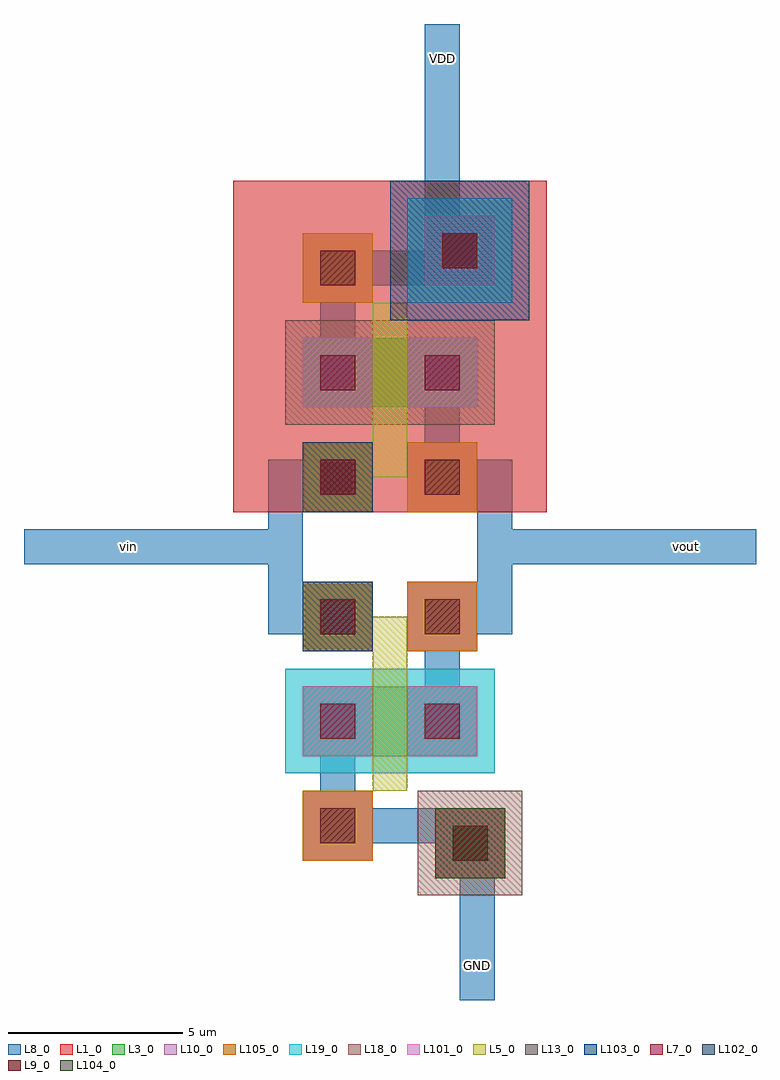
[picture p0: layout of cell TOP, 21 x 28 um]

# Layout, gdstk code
import gdstk
lib = gdstk.Library(unit=1e-6, precision=1e-07)
def R(c, l, rs):  # rectangles x0, y0, x1, y1
    for r in rs: c.add(gdstk.rectangle(r[:2], r[2:], *l))
def P(c, l, *ps):  # polygons
    for p in ps: c.add(gdstk.Polygon(p, *l))
L1_0 = (1, 0)
L3_0 = (3, 0)
L5_0 = (5, 0)
L7_0 = (7, 0)
L8_0 = (8, 0)
L9_0 = (9, 0)
L10_0 = (10, 0)
L13_0 = (13, 0)
L18_0 = (18, 0)
L19_0 = (19, 0)
L101_0 = (101, 0)
L102_0 = (102, 0)
L103_0 = (103, 0)
L104_0 = (104, 0)
L105_0 = (105, 0)

dcont = lib.new_cell('dcont')
R(dcont, L3_0, [(-1,-1,1,1)])
R(dcont, L7_0, [(-0.5,-0.5,0.5,0.5)])
R(dcont, L8_0, [(-1,-1,1,1)])
R(dcont, L13_0, [(-0.5,-0.5,0.5,0.5)])
R(dcont, L101_0, [(-1,-1,1,1)])

pcont = lib.new_cell('pcont')
R(pcont, L5_0, [(-1,-1,1,1)])
R(pcont, L7_0, [(-0.5,-0.5,0.5,0.5)])
R(pcont, L8_0, [(-1,-1,1,1)])
R(pcont, L13_0, [(-0.5,-0.5,0.5,0.5)])
R(pcont, L102_0, [(-1,-1,1,1)])

via = lib.new_cell('Via')
R(via, L8_0, [(-1,-1,1,1)])
R(via, L9_0, [(-0.5,-0.5,0.5,0.5)])
R(via, L10_0, [(-1,-1,1,1)])
R(via, L13_0, [(-0.5,-0.5,0.5,0.5)])
R(via, L105_0, [(-1,-1,1,1)])

dcont1 = lib.new_cell('dcont1')
R(dcont1, L3_0, [(-1,-1,1,1)])
R(dcont1, L7_0, [(-0.5,-0.5,0.5,0.5)])
R(dcont1, L8_0, [(-1,-1,1,1)])
R(dcont1, L13_0, [(-0.5,-0.5,0.5,0.5)])
R(dcont1, L101_0, [(-1,-1,1,1)])

psubcont = lib.new_cell('psubcont')
R(psubcont, L18_0, [(-1.5,-1.5,1.5,1.5)])
R(psubcont, L104_0, [(-1,-1,1,1)])
psubcont.add(gdstk.Reference(dcont1, (0,0)))

nch = lib.new_cell('Nch')
R(nch, L3_0, [(0,3,5,5)])
R(nch, L19_0, [(-0.5,2.5,5.5,5.5)])
nch.add(gdstk.FlexPath([(2.5,3),(2.5,5)], 1, ends=(1, 1), simple_path=True, layer=5, datatype=0))  # L5_0
nch.add(gdstk.FlexPath([(1,6.5),(2.5,6.5),(2.5,6)], 1, ends="flush", simple_path=True, layer=5, datatype=0))  # L5_0
nch.add(gdstk.FlexPath([(1,3),(1,5)], 2, ends="flush", simple_path=True, layer=8, datatype=0))  # L8_0
nch.add(gdstk.FlexPath([(4,3),(4,5)], 2, ends="flush", simple_path=True, layer=8, datatype=0))  # L8_0
nch.add(gdstk.FlexPath([(1,1),(1,4)], 1, ends="flush", simple_path=True, layer=8, datatype=0))  # L8_0
nch.add(gdstk.FlexPath([(4,4),(4,7)], 1, ends="flush", simple_path=True, layer=8, datatype=0))  # L8_0
nch.add(gdstk.Reference(dcont, (1,4)))
nch.add(gdstk.Reference(dcont, (4,4)))
nch.add(gdstk.Reference(pcont, (1,7)))
nch.add(gdstk.Reference(via, (1,7)))
nch.add(gdstk.Reference(via, (1,1)))
nch.add(gdstk.Reference(via, (4,7)))
nch.add(gdstk.Reference(psubcont, (4.8,0.5)))
nch.add(gdstk.Reference(via, (4.8,0.5)))

nsubcont = lib.new_cell('nsubcont')
R(nsubcont, L1_0, [(-2,-2,2,2)])
R(nsubcont, L19_0, [(-1.5,-1.5,1.5,1.5)])
R(nsubcont, L103_0, [(-2,-2,2,2)])
nsubcont.add(gdstk.Reference(dcont1, (0,0)))

pch_1 = lib.new_cell('Pch$1')
R(pch_1, L1_0, [(-2,0,7,9.5)])
R(pch_1, L3_0, [(0,3,5,5)])
R(pch_1, L18_0, [(-0.5,2.5,5.5,5.5)])
pch_1.add(gdstk.FlexPath([(2.5,3),(2.5,5)], 1, ends=(1, 1), simple_path=True, layer=5, datatype=0))  # L5_0
pch_1.add(gdstk.FlexPath([(1,1.5),(2.5,1.5),(2.5,2)], 1, ends="flush", simple_path=True, layer=5, datatype=0))  # L5_0
pch_1.add(gdstk.FlexPath([(1,3),(1,5)], 2, ends="flush", simple_path=True, layer=8, datatype=0))  # L8_0
pch_1.add(gdstk.FlexPath([(4,3),(4,5)], 2, ends="flush", simple_path=True, layer=8, datatype=0))  # L8_0
pch_1.add(gdstk.FlexPath([(1,4),(1,7)], 1, ends="flush", simple_path=True, layer=8, datatype=0))  # L8_0
pch_1.add(gdstk.FlexPath([(4,1),(4,4)], 1, ends="flush", simple_path=True, layer=8, datatype=0))  # L8_0
pch_1.add(gdstk.Reference(dcont, (1,4)))
pch_1.add(gdstk.Reference(dcont, (4,4)))
pch_1.add(gdstk.Reference(pcont, (1,1)))
pch_1.add(gdstk.Reference(via, (1,1)))
pch_1.add(gdstk.Reference(via, (1,7)))
pch_1.add(gdstk.Reference(via, (4,1)))
pch_1.add(gdstk.Reference(nsubcont, (4.5,7.5)))
pch_1.add(gdstk.Reference(via, (4.5,7.5)))

top = lib.new_cell('TOP')
P(top, L8_0, [(-10,11),(-10,11),(-10,11),(-10,11)])
top.add(gdstk.FlexPath([(-13.5,10),(-13.5,6)], 1, ends="flush", simple_path=True, layer=8, datatype=0))  # L8_0
top.add(gdstk.FlexPath([(-14,8),(-21,8)], 1, ends="flush", simple_path=True, layer=8, datatype=0))  # L8_0
top.add(gdstk.FlexPath([(-14,10),(-12,10),(-12,10)], 1, ends="flush", simple_path=True, layer=8, datatype=0))  # L8_0
top.add(gdstk.FlexPath([(-12,0),(-8,0),(-8,-5)], 1, ends="flush", simple_path=True, layer=8, datatype=0))  # L8_0
top.add(gdstk.FlexPath([(-12,16),(-9,16),(-9,23)], 1, ends="flush", simple_path=True, layer=8, datatype=0))  # L8_0
top.add(gdstk.FlexPath([(-14,6),(-12,6)], 1, ends="flush", simple_path=True, layer=8, datatype=0))  # L8_0
top.add(gdstk.FlexPath([(-14,6),(-14,6)], 1, ends="flush", simple_path=True, layer=8, datatype=0))  # L8_0
top.add(gdstk.FlexPath([(-9,10),(-7,10)], 1, ends="flush", simple_path=True, layer=8, datatype=0))  # L8_0
top.add(gdstk.FlexPath([(-9,6),(-7,6)], 1, ends="flush", simple_path=True, layer=8, datatype=0))  # L8_0
top.add(gdstk.FlexPath([(-7.5,10),(-7.5,6),(-7,6)], 1, ends="flush", simple_path=True, layer=8, datatype=0))  # L8_0
top.add(gdstk.FlexPath([(-7,8),(0,8)], 1, ends="flush", simple_path=True, layer=8, datatype=0))  # L8_0
top.add(gdstk.Reference(nch, (-13,-1)))
top.add(gdstk.Reference(pch_1, (-13,9)))
top.add(gdstk.Label('vout', (-2,8), layer=8, texttype=0))
top.add(gdstk.Label('vin', (-18,8), layer=8, texttype=0))
top.add(gdstk.Label('VDD', (-9,22), layer=8, texttype=0))
top.add(gdstk.Label('GND', (-8,-4), layer=8, texttype=0))

lib.write_gds('TOP.gds')
